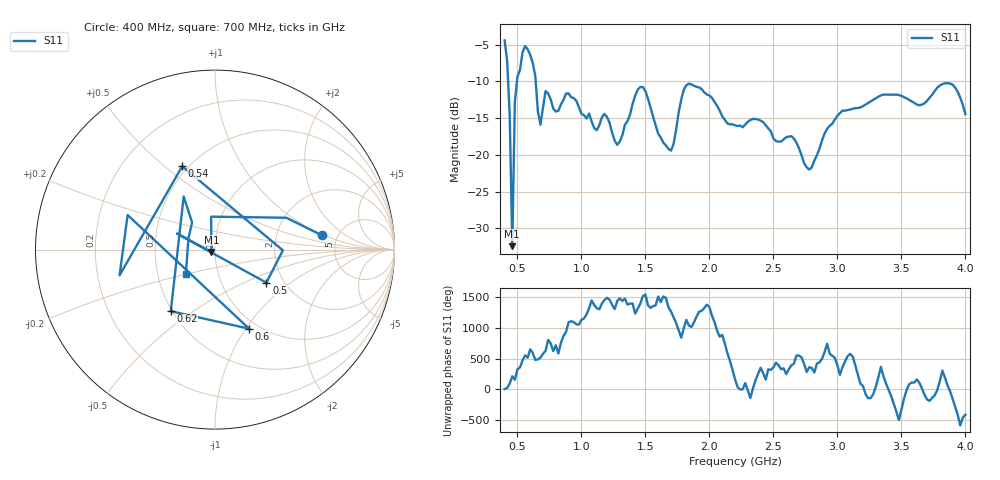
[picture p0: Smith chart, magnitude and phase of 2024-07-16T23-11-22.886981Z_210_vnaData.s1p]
!Created with skrf (http://scikit-rf.org).
# Hz S RI R 50.0
!freq ReS11 ImS11
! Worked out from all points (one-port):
!   181 points, 400 MHz to 4 GHz, reference 50 ohm
!   lowest |S11| = -32.4 dB at 460 MHz (marker M1), VSWR 1.05, Z = 48.1 - j1.32 ohm
!   |S11| at or under -10 dB: 427.5 MHz to 496.3 MHz (68.79 MHz wide, 14.9 % of centre); 643 MHz to end of sweep
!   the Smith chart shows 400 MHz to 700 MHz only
!   S11 on the Smith chart (normalised r, x): 400 MHz: 3.77, +0.94; 500 MHz: 1.63, -0.68; 540 MHz: 0.47, +0.58; 600 MHz: 0.91, -1.04; 620 MHz: 0.49, -0.41; 700 MHz: 0.70, -0.20
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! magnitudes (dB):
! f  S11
! 400 MHz  -4.4
! 420 MHz  -7.2
! 440 MHz  -14.7
! 460 MHz  -32.4
! 480 MHz  -12.8
! 500 MHz  -9.4
! 540 MHz  -6.0
! 600 MHz  -6.4
! 620 MHz  -7.5
! 680 MHz  -15.9
! 700 MHz  -13.5
! 720 MHz  -11.3
! 800 MHz  -14.1
! 860 MHz  -12.5
! 1.12 GHz  -16.6
! 1.18 GHz  -14.4
! 1.3 GHz  -18.2
! 1.46 GHz  -10.8
! 1.7 GHz  -19.4
! 1.76 GHz  -14.2
! 1.84 GHz  -10.3
! 2.2 GHz  -16.0
! 2.66 GHz  -17.8
! 2.78 GHz  -22.0
! 3.1 GHz  -13.8
! 3.56 GHz  -12.5
! 3.88 GHz  -10.3
! 4 GHz  -14.4
